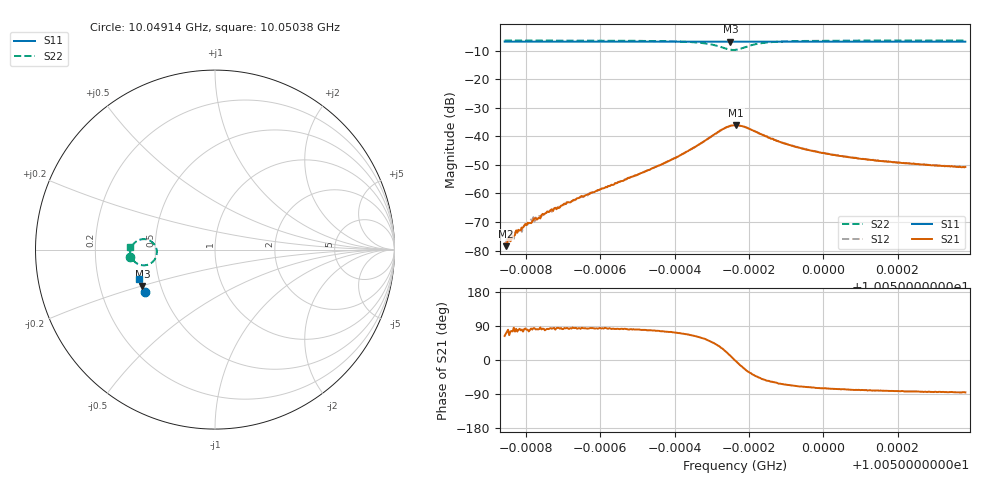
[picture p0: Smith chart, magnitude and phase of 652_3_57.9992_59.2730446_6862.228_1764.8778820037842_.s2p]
#  HZ  S  RI  R  50.00
! Rohde & Schwarz Vector Network Analyzer
! Rohde-Schwarz,ZNB20-2Port,1311601062101988,3.16
! Created: UTC 3/21/2024, 1:19:36 AM
! freq[Hz]  re:S11  im:S11  re:S21  im:S21  re:S12  im:S12  re:S22  im:S22
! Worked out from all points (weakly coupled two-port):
!   401 points, 10.04914 GHz to 10.05038 GHz, reference 50 ohm
!   highest |S21| = -36.07 dB at 10.04977 GHz (marker M1); lowest = -78.4 dB at 10.04915 GHz (marker M2)
!   lowest |S11| = -6.9 dB at 10.04975 GHz (marker M3), VSWR 2.65, Z = 19.8 - j10 ohm
!   |S11| at or under -10 dB: nowhere
!   |S22| runs from -9.8 to -6.5 dB; largest |S21 - S12| = 0.0014
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1.0049142e10  -0.3873 -0.2382  5.95e-05 0.000119  6.09e-05 0.000121  -0.4737 -0.0385
1.0049145e10  -0.3874 -0.2379  4.25e-05 0.000112  3.78e-05 0.000125  -0.4737 -0.0383
1.0049154e10  -0.3877 -0.2375  7.38e-05 0.000163  1.43e-05 0.000177  -0.4737 -0.0375
1.004917e10  -0.3882 -0.2366  4.92e-05 0.000182  2.51e-05 0.0002  -0.4738 -0.0362
1.0049179e10  -0.3886 -0.236  4.27e-05 0.000228  4.24e-05 0.000223  -0.4737 -0.0354
1.0049201e10  -0.3892 -0.2346  4.85e-05 0.000274  2.37e-05 0.00029  -0.4737 -0.0333
1.0049213e10  -0.3898 -0.2341  3.64e-05 0.0003  2.33e-05 0.000351  -0.4738 -0.0322
1.0049251e10  -0.3908 -0.2318  9.01e-05 0.000436  1.42e-05 0.000449  -0.4736 -0.0287
1.0049279e10  -0.3917 -0.2302  9.54e-05 0.000554  2.53e-05 0.00056  -0.4735 -0.0256
1.004935e10  -0.394 -0.2261  7.53e-05 0.000902  2.79e-05 0.000866  -0.4729 -0.0178
1.0049558e10  -0.4003 -0.2137  0.000698 0.003  0.000541 0.00304  -0.464 0.0154
1.0049676e10  -0.4034 -0.2065  0.00426 0.00666  0.00385 0.00688  -0.4243 0.0532
1.0049719e10  -0.404 -0.2036  0.00975 0.00723  0.00918 0.00784  -0.371 0.0537
1.004975e10  -0.4043 -0.2021  0.015 0.00297  0.0146 0.00389  -0.3274 0.00782
1.0049762e10  -0.4045 -0.2017  0.0155 -0.00022  0.0157 0.00102  -0.3243 -0.0225
1.0049765e10  -0.4046 -0.2016  0.0157 -0.00102  0.0157 8.51e-05  -0.3255 -0.0304
1.00498e10  -0.4058 -0.2003  0.0116 -0.00717  0.0122 -0.00645  -0.3721 -0.0835
1.0049843e10  -0.4075 -0.198  0.00616 -0.00803  0.00673 -0.00767  -0.4262 -0.0818
1.0049896e10  -0.4093 -0.1947  0.0032 -0.00677  0.0037 -0.00661  -0.4537 -0.0618
1.004997e10  -0.4115 -0.19  0.00168 -0.00532  0.00197 -0.00524  -0.4668 -0.0405
1.0050178e10  -0.4167 -0.1774  0.000518 -0.00355  0.000734 -0.00351  -0.4747 -0.0078
1.0050383e10  -0.4215 -0.1648  0.00023 -0.00291  0.000378 -0.00283  -0.4753 0.0126
